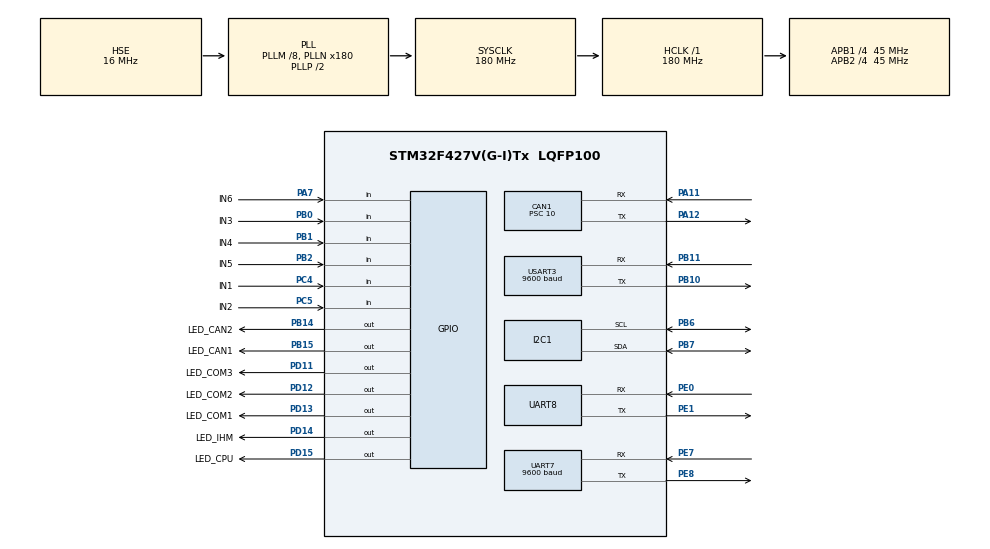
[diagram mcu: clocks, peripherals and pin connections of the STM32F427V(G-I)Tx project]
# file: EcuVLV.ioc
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CAN1.BS1=CAN_BS1_15TQ
CAN1.BS2=CAN_BS2_2TQ
CAN1.CalculateBaudRate=250000
CAN1.CalculateTimeBit=4000
CAN1.CalculateTimeQuantum=222.22222222222223
CAN1.NART=ENABLE
CAN1.Prescaler=10
Dma.Request0=USART3_RX
Dma.Request1=UART7_RX
Dma.UART7_RX.1.Direction=DMA_PERIPH_TO_MEMORY
Dma.UART7_RX.1.FIFOMode=DMA_FIFOMODE_DISABLE
Dma.UART7_RX.1.Instance=DMA1_Stream3
Dma.UART7_RX.1.MemDataAlignment=DMA_MDATAALIGN_BYTE
Dma.UART7_RX.1.MemInc=DMA_MINC_ENABLE
Dma.UART7_RX.1.Mode=DMA_NORMAL
Dma.UART7_RX.1.PeriphDataAlignment=DMA_PDATAALIGN_BYTE
Dma.UART7_RX.1.PeriphInc=DMA_PINC_DISABLE
Dma.UART7_RX.1.Priority=DMA_PRIORITY_HIGH
Dma.USART3_RX.0.Direction=DMA_PERIPH_TO_MEMORY
Dma.USART3_RX.0.FIFOMode=DMA_FIFOMODE_DISABLE
Dma.USART3_RX.0.Instance=DMA1_Stream1
Dma.USART3_RX.0.MemDataAlignment=DMA_MDATAALIGN_BYTE
Dma.USART3_RX.0.MemInc=DMA_MINC_ENABLE
Dma.USART3_RX.0.Mode=DMA_CIRCULAR
Dma.USART3_RX.0.PeriphDataAlignment=DMA_PDATAALIGN_BYTE
Dma.USART3_RX.0.PeriphInc=DMA_PINC_DISABLE
Dma.USART3_RX.0.Priority=DMA_PRIORITY_MEDIUM
IWDG.Prescaler=IWDG_PRESCALER_64
Mcu.Family=STM32F4
Mcu.Name=STM32F427V(G-I)Tx
Mcu.Package=LQFP100
NVIC.CAN1_RX0_IRQn=true\:0\:0\:false\:false\:true\:true\:true\:true
NVIC.CAN1_RX1_IRQn=true\:0\:0\:false\:false\:true\:true\:true\:true
NVIC.DMA1_Stream1_IRQn=true\:0\:0\:false\:false\:true\:false\:true\:true
NVIC.DMA1_Stream3_IRQn=true\:0\:0\:false\:false\:true\:false\:true\:true
NVIC.PriorityGroup=NVIC_PRIORITYGROUP_4
NVIC.TIM3_IRQn=true\:0\:0\:false\:false\:true\:true\:true\:true
NVIC.TIM6_DAC_IRQn=true\:0\:0\:false\:false\:true\:true\:true\:true
NVIC.UART7_IRQn=true\:0\:0\:false\:false\:true\:true\:true\:true
NVIC.USART3_IRQn=true\:0\:0\:false\:false\:true\:true\:true\:true
PA11.Mode=CAN_Activate
PA11.Signal=CAN1_RX
PA12.Mode=CAN_Activate
PA12.Signal=CAN1_TX
PA7.GPIO_Label=IN6
PA7.GPIO_PuPd=GPIO_PULLUP
PA7.Signal=GPIO_Input
PB0.GPIO_Label=IN3
PB0.GPIO_PuPd=GPIO_PULLUP
PB0.Signal=GPIO_Input
PB1.GPIO_Label=IN4
PB1.GPIO_PuPd=GPIO_PULLUP
PB1.Signal=GPIO_Input
PB10.Mode=Asynchronous
PB10.Signal=USART3_TX
PB11.Mode=Asynchronous
PB11.Signal=USART3_RX
PB14.GPIO_Label=LED_CAN2
PB14.Signal=GPIO_Output
PB15.GPIO_Label=LED_CAN1
PB15.Signal=GPIO_Output
PB2/BOOT1.GPIO_Label=IN5
PB2/BOOT1.GPIO_PuPd=GPIO_PULLUP
PB2/BOOT1.Signal=GPIO_Input
PB6.Mode=I2C
PB6.Signal=I2C1_SCL
PB7.Mode=I2C
PB7.Signal=I2C1_SDA
PC14/OSC32_IN.Mode=LSE-External-Oscillator
PC14/OSC32_IN.Signal=RCC_OSC32_IN
PC15/OSC32_OUT.Mode=LSE-External-Oscillator
PC15/OSC32_OUT.Signal=RCC_OSC32_OUT
PC4.GPIO_Label=IN1
PC4.GPIO_PuPd=GPIO_PULLUP
PC4.Signal=GPIO_Input
PC5.GPIO_Label=IN2
PC5.GPIO_PuPd=GPIO_PULLUP
PC5.Signal=GPIO_Input
PD11.GPIO_Label=LED_COM3
PD11.Signal=GPIO_Output
PD12.GPIO_Label=LED_COM2
PD12.Signal=GPIO_Output
PD13.GPIO_Label=LED_COM1
PD13.Signal=GPIO_Output
PD14.GPIO_Label=LED_IHM
PD14.Signal=GPIO_Output
PD15.GPIO_Label=LED_CPU
PD15.Signal=GPIO_Output
PE0.Mode=Asynchronous
PE0.Signal=UART8_RX
PE1.Mode=Asynchronous
PE1.Signal=UART8_TX
PE7.Mode=Asynchronous
PE7.Signal=UART7_RX
PE8.Mode=Asynchronous
PE8.Signal=UART7_TX
PH0/OSC_IN.Mode=HSE-External-Oscillator
PH0/OSC_IN.Signal=RCC_OSC_IN
PH1/OSC_OUT.Mode=HSE-External-Oscillator
PH1/OSC_OUT.Signal=RCC_OSC_OUT
ProjectManager.HeapSize=0x200
ProjectManager.StackSize=0x400
ProjectManager.TargetToolchain=STM32CubeIDE
RCC.48MHZClocksFreq_Value=90000000
RCC.AHBFreq_Value=180000000
RCC.APB1CLKDivider=RCC_HCLK_DIV4
RCC.APB1Freq_Value=45000000
RCC.APB1TimFreq_Value=90000000
RCC.APB2CLKDivider=RCC_HCLK_DIV4
RCC.APB2Freq_Value=45000000
RCC.APB2TimFreq_Value=90000000
RCC.CortexFreq_Value=180000000
RCC.HCLKFreq_Value=180000000
RCC.HSE_VALUE=16000000
RCC.HSI_VALUE=16000000
RCC.PLLM=8
RCC.PLLN=180
RCC.PLLSourceVirtual=RCC_PLLSOURCE_HSE
RCC.SYSCLKFreq_VALUE=180000000
RCC.SYSCLKSource=RCC_SYSCLKSOURCE_PLLCLK
RCC.VCOOutputFreq_Value=360000000
TIM2.Prescaler=90-1
TIM3.Period=10-1
TIM3.Prescaler=900-1
TIM6.Period=10-1
TIM6.Prescaler=9000-1
UART7.BaudRate=9600
UART7.VirtualMode=Asynchronous
UART8.VirtualMode=Asynchronous
USART3.BaudRate=9600
USART3.VirtualMode=VM_ASYNC
VP_IWDG_VS_IWDG.Mode=IWDG_Activate
VP_RTC_VS_RTC_Activate.Mode=RTC_Enabled
VP_RTC_VS_RTC_Calendar.Mode=RTC_Calendar
VP_TIM2_VS_ClockSourceINT.Mode=Internal
VP_TIM3_VS_ClockSourceINT.Mode=Internal
VP_TIM6_VS_ClockSourceINT.Mode=Enable_Timer
board=custom

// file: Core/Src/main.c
/* USER CODE BEGIN Header */
/**
  ******************************************************************************
  * @file           : main.c
  * @brief          : Main program body
  ******************************************************************************
  * @attention
  *
  * Copyright (c) 2026 STMicroelectronics.
  * All rights reserved.
  *
  * This software is licensed under terms that can be found in the LICENSE file
  * in the root directory of this software component.
  * If no LICENSE file comes with this software, it is provided AS-IS.
  *
  ******************************************************************************
  */
/* USER CODE END Header */
#include "main.h"

/* USER CODE BEGIN Includes */
#include "global.h"
#include "string.h"
/* USER CODE END Includes */

CAN_HandleTypeDef hcan1;

I2C_HandleTypeDef hi2c1;

IWDG_HandleTypeDef hiwdg;

RTC_HandleTypeDef hrtc;

TIM_HandleTypeDef htim2;
TIM_HandleTypeDef htim3;
TIM_HandleTypeDef htim6;

UART_HandleTypeDef huart7;
UART_HandleTypeDef huart8;
UART_HandleTypeDef huart3;
DMA_HandleTypeDef hdma_uart7_rx;
DMA_HandleTypeDef hdma_usart3_rx;

/* USER CODE BEGIN PV */
CAN_TxHeaderTypeDef	canTxHeader;
CAN_RxHeaderTypeDef	canRxHeader;

DTOBufferTypeDef
	bufferIHMDTO;

uint8_t
	flagPacoteCAN = false,
	flagEnviaPacoteCAN = false,
	flagPacoteIHM = false,
	flagLedCAN1 = false,
	flagLedIHM = false,
	flagCalculaSetpoint = false,

	flagSalvaHectarimetro = false,
	flagSensorLevante = false,
	flagOperacao = false,
	flagOperacaoVollverini = false,
	flagOperacaoAdubo = false,
	flagOperacaoSemente = false,
	flagCalibracaoPulsosPor100m = false,
	flagEnviaValorCalibracao100m = false,
	flagCalibracaoAdubo = false,
	flagCalibracaoSemente = false,

	flagAcionaContingencia = false,
	flagContingenciaAcionada = false,
	flagMaquinaParada = false,

	flagHomeHaste = false,
	flagFimCursoHaste = false,

	flagAcionamentoS1 = true,
	flagAcionamentoS2 = true,
	flagAcionamentoS3 = true,
	flagAcionamentoS4 = true,

	flagOffsetVelocidadeNegativo = false;

uint8_t
	operacao = 0,
	velocidade = 0,
	offsetVelocidade = 0,
	tipoSensorVelocidade = SENSOR_GPS,
	velocidadeContingencia = 8,

	calibracaoAduboPercentualZero = 0,
	calibracaoSementePercentualZero = 0,
	calibracaoMaterialSelecao = SELECIONA_TODOS,
	calibracaoMaterialPercentual = 0,

	comandoCalibracaoPulsos = CANCELAR_CALIBRACAO_PULSOS,
	comandoComportas = PARAR_COMPORTAS,
	comandoHaste = RETORNO_HASTE,

  contadorFalhaEsteira = 0,

	contadorBufferIHM = 0,
	contadorBufferSensorAcidez = 0;

char
	ihmDataIn = 0,
	sensorAcidezDataIn = 0;

uint16_t
	alturaHaste = 0,
	alturaZeroHaste = 0,
	setpointHaste = 10,
	quantidadePulsosHaste = 9,
	quantidadePulsosSetpointHaste = 0,
	contadorPulsosHaste = 0,
	tamanhoHaste = 10,
	acidez = 0,

	pulsosPor100m = 100,
	contadorPulsosPor100m = 0,

	valorSaidaAdubo = 0,
	valorSaidaSemente = 0,

	contadorCalibracaoMaterial = 0;

uint32_t
	canTxMailbox,

	setpointAdubo = 10,
	setpointSemente = 10,
	larguraMaquina = 100,
	hectarimetro = 0,
	hodometroMetros = 0,
	distanciaParaUmHectare = 10,

	materialPorMetroAdubo = 0,
	materialPorMetroSemente = 0;

uint8_t
	canTxBuffer[8],
	canRxBuffer[8],

	configuracaoModuloPotencia[QUANTIDADE_MAXIMA_MODULOS],
	setorModuloPotencia[QUANTIDADE_MAXIMA_MODULOS],
	contadorModuloOffline[QUANTIDADE_MAXIMA_MODULOS],

	calibracaoAduboPercentual[QUANTIDADE_PONTOS_CALIBRACAO],
	calibracaoSementePercentual[QUANTIDADE_PONTOS_CALIBRACAO];

uint16_t
	frequenciaModulo[QUANTIDADE_MAXIMA_MODULOS];

uint32_t
	calibracaoAduboMaterial[QUANTIDADE_PONTOS_CALIBRACAO],
	calibracaoSementeMaterial[QUANTIDADE_PONTOS_CALIBRACAO];

char
	bufferIHM[TAMANHO_BUFFER_IHM],
	bufferEnviaIHM[TAMANHO_BUFFER_IHM],

	bufferSensorAvidez[TAMANHO_BUFFER_SENSOR_ACIDEZ];
/* USER CODE END PV */

void SystemClock_Config(void);
static void MX_GPIO_Init(void);
static void MX_DMA_Init(void);
static void MX_I2C1_Init(void);
static void MX_IWDG_Init(void);
static void MX_RTC_Init(void);
static void MX_TIM2_Init(void);
static void MX_TIM3_Init(void);
static void MX_UART7_Init(void);
static void MX_USART3_UART_Init(void);
static void MX_UART8_Init(void);
static void MX_TIM6_Init(void);
static void MX_CAN1_Init(void);

/* USER CODE BEGIN 0 */
void HAL_TIM_PeriodElapsedCallback(TIM_HandleTypeDef *htim) {
	if(htim == &htim3) {
		schedulerEngine();
	}

	if(htim == &htim6) {
		leituraSensorVelocidade();
		leituraSensorPulsosHaste();
	}
}

void HAL_UARTEx_RxEventCallback(UART_HandleTypeDef *huart, uint16_t Size) {
    if(huart->Instance == UART7) {
    	if(Size && bufferIHM[Size - 1] == 0x0A) {
    		flagPacoteIHM = true;
    	}
    	else {
    		apagaBufferIHM();
    	}
    }
}

void HAL_CAN_RxFifo0MsgPendingCallback(CAN_HandleTypeDef *hCan) {
	if(hCan == &hcan1) {
		HAL_CAN_GetRxMessage(&hcan1, CAN_RX_FIFO0, &canRxHeader, canRxBuffer);
		flagPacoteCAN = true;
	}
}

void delayMicro(uint32_t tempo) {
	__HAL_TIM_SET_COUNTER(&htim2, 0);
	while(__HAL_TIM_GET_COUNTER(&htim2) < tempo) {
	}
}

void reiniciaWatchDog() {
	HAL_IWDG_Refresh(&hiwdg);
}
/* USER CODE END 0 */

int main(void)
{

  /* MCU Configuration--------------------------------------------------------*/

  /* Reset of all peripherals, Initializes the Flash interface and the Systick. */
  HAL_Init();

  /* Configure the system clock */
  SystemClock_Config();

  /* Initialize all configured peripherals */
  MX_GPIO_Init();
  MX_DMA_Init();
  MX_I2C1_Init();
  MX_IWDG_Init();
  MX_RTC_Init();
  MX_TIM2_Init();
  MX_TIM3_Init();
  MX_UART7_Init();
  MX_USART3_UART_Init();
  MX_UART8_Init();
  MX_TIM6_Init();
  MX_CAN1_Init();
  /* USER CODE BEGIN 2 */
  HAL_CAN_Start(&hcan1);
  HAL_CAN_ActivateNotification(&hcan1, CAN_IT_RX_FIFO0_MSG_PENDING);
  //Alterações no CAN INIT

  HAL_TIM_Base_Start(&htim2); //Timer do delay us
  HAL_TIM_Base_Start_IT(&htim3); //Timer do Scheduller
  HAL_TIM_Base_Start_IT(&htim6); //Timer da velocidade

  verificaEeprom();
  readEeprom();
  calculaDistanciaUmHectare();
  calculaMaterialPorMetro();
  calculaQuantidadePulsosSetpointHaste(setpointHaste);

  on(LED_COM1_GPIO_Port, LED_COM1_Pin);
  on(LED_COM2_GPIO_Port, LED_COM2_Pin);
  on(LED_COM3_GPIO_Port, LED_COM3_Pin);
  on(LED_CAN2_GPIO_Port, LED_CAN2_Pin);

  HAL_UARTEx_ReceiveToIdle_DMA(&huart7, &bufferIHM, TAMANHO_BUFFER_IHM);

  /* USER CODE END 2 */

  /* Infinite loop */
  /* USER CODE BEGIN WHILE */
  while (1)
  {
	  protocoloIHM();
	  leituraEntradasDigitais();
	  verificaOperacao();
	  controleHaste();

	  recebePacoteCAN();

	  if(flagCalculaSetpoint) {
		  flagCalculaSetpoint = false;
		  calculaSetpoint();
	  }

	  if(flagEnviaPacoteCAN) {
		  flagEnviaPacoteCAN = false;
		  enviaPacoteCAN();
	  }

	  if(flagSalvaHectarimetro) {
		  flagSalvaHectarimetro = false;
		  writeEepromHectarimetro();
	  }
    /* USER CODE END WHILE */

    /* USER CODE BEGIN 3 */
	  //HAL_UART_Receive_IT(&huart7, &ihmDataIn, 1);
  }
  /* USER CODE END 3 */
}

void SystemClock_Config(void)
{
  RCC_OscInitTypeDef RCC_OscInitStruct = {0};
  RCC_ClkInitTypeDef RCC_ClkInitStruct = {0};

  /** Configure the main internal regulator output voltage
  */
  __HAL_RCC_PWR_CLK_ENABLE();
  __HAL_PWR_VOLTAGESCALING_CONFIG(PWR_REGULATOR_VOLTAGE_SCALE1);

  /** Initializes the RCC Oscillators according to the specified parameters
  * in the RCC_OscInitTypeDef structure.
  */
  RCC_OscInitStruct.OscillatorType = RCC_OSCILLATORTYPE_LSI|RCC_OSCILLATORTYPE_HSE;
  RCC_OscInitStruct.HSEState = RCC_HSE_ON;
  RCC_OscInitStruct.LSIState = RCC_LSI_ON;
  RCC_OscInitStruct.PLL.PLLState = RCC_PLL_ON;
  RCC_OscInitStruct.PLL.PLLSource = RCC_PLLSOURCE_HSE;
  RCC_OscInitStruct.PLL.PLLM = 8;
  RCC_OscInitStruct.PLL.PLLN = 180;
  RCC_OscInitStruct.PLL.PLLP = RCC_PLLP_DIV2;
  RCC_OscInitStruct.PLL.PLLQ = 4;
  if (HAL_RCC_OscConfig(&RCC_OscInitStruct) != HAL_OK)
  {
    Error_Handler();
  }

  /** Activate the Over-Drive mode
  */
  if (HAL_PWREx_EnableOverDrive() != HAL_OK)
  {
    Error_Handler();
  }

  /** Initializes the CPU, AHB and APB buses clocks
  */
  RCC_ClkInitStruct.ClockType = RCC_CLOCKTYPE_HCLK|RCC_CLOCKTYPE_SYSCLK
                              |RCC_CLOCKTYPE_PCLK1|RCC_CLOCKTYPE_PCLK2;
  RCC_ClkInitStruct.SYSCLKSource = RCC_SYSCLKSOURCE_PLLCLK;
  RCC_ClkInitStruct.AHBCLKDivider = RCC_SYSCLK_DIV1;
  RCC_ClkInitStruct.APB1CLKDivider = RCC_HCLK_DIV4;
  RCC_ClkInitStruct.APB2CLKDivider = RCC_HCLK_DIV4;

  if (HAL_RCC_ClockConfig(&RCC_ClkInitStruct, FLASH_LATENCY_5) != HAL_OK)
  {
    Error_Handler();
  }
}

static void MX_CAN1_Init(void)
{

  /* USER CODE BEGIN CAN1_Init 0 */
	//calculo da configuração de velocidade
	//http://www.bittiming.can-wiki.info/
	//Selecionar ST e colocar a velocidade do clock (do APB1 ou do barramento correspondente a CAN)
	//gerar tabela e pegar os calores de prescaler, seg1 e seg2
	CAN_FilterTypeDef  sFilterConfig; //Inserido

	//hcan.Init.AutoRetransmission = ENABLE; --> Deve estar em ENABLE

  /* USER CODE END CAN1_Init 0 */

  hcan1.Instance = CAN1;
  hcan1.Init.Prescaler = 10;
  hcan1.Init.Mode = CAN_MODE_NORMAL;
  hcan1.Init.SyncJumpWidth = CAN_SJW_1TQ;
  hcan1.Init.TimeSeg1 = CAN_BS1_15TQ;
  hcan1.Init.TimeSeg2 = CAN_BS2_2TQ;
  hcan1.Init.TimeTriggeredMode = DISABLE;
  hcan1.Init.AutoBusOff = DISABLE;
  hcan1.Init.AutoWakeUp = DISABLE;
  hcan1.Init.AutoRetransmission = ENABLE;
  hcan1.Init.ReceiveFifoLocked = DISABLE;
  hcan1.Init.TransmitFifoPriority = DISABLE;
  if (HAL_CAN_Init(&hcan1) != HAL_OK)
  {
    Error_Handler();
  }
  /* USER CODE BEGIN CAN1_Init 2 */
  //Inserido abaixo

  sFilterConfig.FilterBank = 0;
  sFilterConfig.FilterMode = CAN_FILTERMODE_IDMASK;
  sFilterConfig.FilterScale = CAN_FILTERSCALE_32BIT;
  sFilterConfig.FilterIdHigh = 0x0000;
  sFilterConfig.FilterIdLow = 0x0000;
  sFilterConfig.FilterMaskIdHigh = 0x0000;
  sFilterConfig.FilterMaskIdLow = 0x0000;
  sFilterConfig.FilterFIFOAssignment = CAN_RX_FIFO0;
  sFilterConfig.FilterActivation = ENABLE;
  sFilterConfig.SlaveStartFilterBank = 14;

  if(HAL_CAN_ConfigFilter(&hcan1, &sFilterConfig) != HAL_OK) {
	  Error_Handler();
  }

  if(HAL_CAN_Start(&hcan1) != HAL_OK) {
	  Error_Handler();
  }

  /* USER CODE END CAN1_Init 2 */

}

static void MX_I2C1_Init(void)
{

  hi2c1.Instance = I2C1;
  hi2c1.Init.ClockSpeed = 100000;
  hi2c1.Init.DutyCycle = I2C_DUTYCYCLE_2;
  hi2c1.Init.OwnAddress1 = 0;
  hi2c1.Init.AddressingMode = I2C_ADDRESSINGMODE_7BIT;
  hi2c1.Init.DualAddressMode = I2C_DUALADDRESS_DISABLE;
  hi2c1.Init.OwnAddress2 = 0;
  hi2c1.Init.GeneralCallMode = I2C_GENERALCALL_DISABLE;
  hi2c1.Init.NoStretchMode = I2C_NOSTRETCH_DISABLE;
  if (HAL_I2C_Init(&hi2c1) != HAL_OK)
  {
    Error_Handler();
  }

  /** Configure Analogue filter
  */
  if (HAL_I2CEx_ConfigAnalogFilter(&hi2c1, I2C_ANALOGFILTER_ENABLE) != HAL_OK)
  {
    Error_Handler();
  }

  /** Configure Digital filter
  */
  if (HAL_I2CEx_ConfigDigitalFilter(&hi2c1, 0) != HAL_OK)
  {
    Error_Handler();
  }

}

static void MX_IWDG_Init(void)
{

  hiwdg.Instance = IWDG;
  hiwdg.Init.Prescaler = IWDG_PRESCALER_64;
  hiwdg.Init.Reload = 4095;
  if (HAL_IWDG_Init(&hiwdg) != HAL_OK)
  {
    Error_Handler();
  }

}

static void MX_RTC_Init(void)
{

  RTC_TimeTypeDef sTime = {0};
  RTC_DateTypeDef sDate = {0};

  /** Initialize RTC Only
  */
  hrtc.Instance = RTC;
  hrtc.Init.HourFormat = RTC_HOURFORMAT_24;
  hrtc.Init.AsynchPrediv = 127;
  hrtc.Init.SynchPrediv = 255;
  hrtc.Init.OutPut = RTC_OUTPUT_DISABLE;
  hrtc.Init.OutPutPolarity = RTC_OUTPUT_POLARITY_HIGH;
  hrtc.Init.OutPutType = RTC_OUTPUT_TYPE_OPENDRAIN;
  if (HAL_RTC_Init(&hrtc) != HAL_OK)
  {
    Error_Handler();
  }

  /** Initialize RTC and set the Time and Date
  */
  sTime.Hours = 0x0;
  sTime.Minutes = 0x0;
  sTime.Seconds = 0x0;
  sTime.DayLightSaving = RTC_DAYLIGHTSAVING_NONE;
  sTime.StoreOperation = RTC_STOREOPERATION_RESET;
  if (HAL_RTC_SetTime(&hrtc, &sTime, RTC_FORMAT_BCD) != HAL_OK)
  {
    Error_Handler();
  }
  sDate.WeekDay = RTC_WEEKDAY_MONDAY;
  sDate.Month = RTC_MONTH_JANUARY;
  sDate.Date = 0x1;
  sDate.Year = 0x0;

  if (HAL_RTC_SetDate(&hrtc, &sDate, RTC_FORMAT_BCD) != HAL_OK)
  {
    Error_Handler();
  }

}

static void MX_TIM2_Init(void)
{

  TIM_ClockConfigTypeDef sClockSourceConfig = {0};
  TIM_MasterConfigTypeDef sMasterConfig = {0};

  htim2.Instance = TIM2;
  htim2.Init.Prescaler = 90-1;
  htim2.Init.CounterMode = TIM_COUNTERMODE_UP;
  htim2.Init.Period = 4294967295;
  htim2.Init.ClockDivision = TIM_CLOCKDIVISION_DIV1;
  htim2.Init.AutoReloadPreload = TIM_AUTORELOAD_PRELOAD_DISABLE;
  if (HAL_TIM_Base_Init(&htim2) != HAL_OK)
  {
    Error_Handler();
  }
  sClockSourceConfig.ClockSource = TIM_CLOCKSOURCE_INTERNAL;
  if (HAL_TIM_ConfigClockSource(&htim2, &sClockSourceConfig) != HAL_OK)
  {
    Error_Handler();
  }
  sMasterConfig.MasterOutputTrigger = TIM_TRGO_RESET;
  sMasterConfig.MasterSlaveMode = TIM_MASTERSLAVEMODE_DISABLE;
  if (HAL_TIMEx_MasterConfigSynchronization(&htim2, &sMasterConfig) != HAL_OK)
  {
    Error_Handler();
  }

}

static void MX_TIM3_Init(void)
{

  TIM_ClockConfigTypeDef sClockSourceConfig = {0};
  TIM_MasterConfigTypeDef sMasterConfig = {0};

  htim3.Instance = TIM3;
  htim3.Init.Prescaler = 900-1;
  htim3.Init.CounterMode = TIM_COUNTERMODE_UP;
  htim3.Init.Period = 10-1;
  htim3.Init.ClockDivision = TIM_CLOCKDIVISION_DIV1;
  htim3.Init.AutoReloadPreload = TIM_AUTORELOAD_PRELOAD_DISABLE;
  if (HAL_TIM_Base_Init(&htim3) != HAL_OK)
  {
    Error_Handler();
  }
  sClockSourceConfig.ClockSource = TIM_CLOCKSOURCE_INTERNAL;
  if (HAL_TIM_ConfigClockSource(&htim3, &sClockSourceConfig) != HAL_OK)
  {
    Error_Handler();
  }
  sMasterConfig.MasterOutputTrigger = TIM_TRGO_RESET;
  sMasterConfig.MasterSlaveMode = TIM_MASTERSLAVEMODE_DISABLE;
  if (HAL_TIMEx_MasterConfigSynchronization(&htim3, &sMasterConfig) != HAL_OK)
  {
    Error_Handler();
  }

}

static void MX_TIM6_Init(void)
{

  TIM_MasterConfigTypeDef sMasterConfig = {0};

  htim6.Instance = TIM6;
  htim6.Init.Prescaler = 9000-1;
  htim6.Init.CounterMode = TIM_COUNTERMODE_UP;
  htim6.Init.Period = 10-1;
  htim6.Init.AutoReloadPreload = TIM_AUTORELOAD_PRELOAD_DISABLE;
  if (HAL_TIM_Base_Init(&htim6) != HAL_OK)
  {
    Error_Handler();
  }
  sMasterConfig.MasterOutputTrigger = TIM_TRGO_RESET;
  sMasterConfig.MasterSlaveMode = TIM_MASTERSLAVEMODE_DISABLE;
  if (HAL_TIMEx_MasterConfigSynchronization(&htim6, &sMasterConfig) != HAL_OK)
  {
    Error_Handler();
  }

}

static void MX_UART7_Init(void)
{

  huart7.Instance = UART7;
  huart7.Init.BaudRate = 9600;
  huart7.Init.WordLength = UART_WORDLENGTH_8B;
  huart7.Init.StopBits = UART_STOPBITS_1;
  huart7.Init.Parity = UART_PARITY_NONE;
  huart7.Init.Mode = UART_MODE_TX_RX;
  huart7.Init.HwFlowCtl = UART_HWCONTROL_NONE;
  huart7.Init.OverSampling = UART_OVERSAMPLING_16;
  if (HAL_UART_Init(&huart7) != HAL_OK)
  {
    Error_Handler();
  }

}

static void MX_UART8_Init(void)
{

  huart8.Instance = UART8;
  huart8.Init.BaudRate = 115200;
  huart8.Init.WordLength = UART_WORDLENGTH_8B;
  huart8.Init.StopBits = UART_STOPBITS_1;
  huart8.Init.Parity = UART_PARITY_NONE;
  huart8.Init.Mode = UART_MODE_TX_RX;
  huart8.Init.HwFlowCtl = UART_HWCONTROL_NONE;
  huart8.Init.OverSampling = UART_OVERSAMPLING_16;
  if (HAL_UART_Init(&huart8) != HAL_OK)
  {
    Error_Handler();
  }

}

static void MX_USART3_UART_Init(void)
{

  huart3.Instance = USART3;
  huart3.Init.BaudRate = 9600;
  huart3.Init.WordLength = UART_WORDLENGTH_8B;
  huart3.Init.StopBits = UART_STOPBITS_1;
  huart3.Init.Parity = UART_PARITY_NONE;
  huart3.Init.Mode = UART_MODE_TX_RX;
  huart3.Init.HwFlowCtl = UART_HWCONTROL_NONE;
  huart3.Init.OverSampling = UART_OVERSAMPLING_16;
  if (HAL_UART_Init(&huart3) != HAL_OK)
  {
    Error_Handler();
  }

}

static void MX_DMA_Init(void)
{

  /* DMA controller clock enable */
  __HAL_RCC_DMA1_CLK_ENABLE();

  /* DMA interrupt init */
  /* DMA1_Stream1_IRQn interrupt configuration */
  HAL_NVIC_SetPriority(DMA1_Stream1_IRQn, 0, 0);
  HAL_NVIC_EnableIRQ(DMA1_Stream1_IRQn);
  /* DMA1_Stream3_IRQn interrupt configuration */
  HAL_NVIC_SetPriority(DMA1_Stream3_IRQn, 0, 0);
  HAL_NVIC_EnableIRQ(DMA1_Stream3_IRQn);

}

static void MX_GPIO_Init(void)
{
  GPIO_InitTypeDef GPIO_InitStruct = {0};

  /* GPIO Ports Clock Enable */
  __HAL_RCC_GPIOC_CLK_ENABLE();
  __HAL_RCC_GPIOH_CLK_ENABLE();
  __HAL_RCC_GPIOA_CLK_ENABLE();
  __HAL_RCC_GPIOB_CLK_ENABLE();
  __HAL_RCC_GPIOE_CLK_ENABLE();
  __HAL_RCC_GPIOD_CLK_ENABLE();

  /*Configure GPIO pin Output Level */
  HAL_GPIO_WritePin(GPIOB, LED_CAN2_Pin|LED_CAN1_Pin, GPIO_PIN_RESET);

  /*Configure GPIO pin Output Level */
  HAL_GPIO_WritePin(GPIOD, LED_COM3_Pin|LED_COM2_Pin|LED_COM1_Pin|LED_IHM_Pin
                          |LED_CPU_Pin, GPIO_PIN_RESET);

  /*Configure GPIO pin : IN6_Pin */
  GPIO_InitStruct.Pin = IN6_Pin;
  GPIO_InitStruct.Mode = GPIO_MODE_INPUT;
  GPIO_InitStruct.Pull = GPIO_PULLUP;
  HAL_GPIO_Init(IN6_GPIO_Port, &GPIO_InitStruct);

  /*Configure GPIO pins : IN1_Pin IN2_Pin */
  GPIO_InitStruct.Pin = IN1_Pin|IN2_Pin;
  GPIO_InitStruct.Mode = GPIO_MODE_INPUT;
  GPIO_InitStruct.Pull = GPIO_PULLUP;
  HAL_GPIO_Init(GPIOC, &GPIO_InitStruct);

  /*Configure GPIO pins : IN3_Pin IN4_Pin IN5_Pin */
  GPIO_InitStruct.Pin = IN3_Pin|IN4_Pin|IN5_Pin;
  GPIO_InitStruct.Mode = GPIO_MODE_INPUT;
  GPIO_InitStruct.Pull = GPIO_PULLUP;
  HAL_GPIO_Init(GPIOB, &GPIO_InitStruct);

  /*Configure GPIO pins : LED_CAN2_Pin LED_CAN1_Pin */
  GPIO_InitStruct.Pin = LED_CAN2_Pin|LED_CAN1_Pin;
  GPIO_InitStruct.Mode = GPIO_MODE_OUTPUT_PP;
  GPIO_InitStruct.Pull = GPIO_NOPULL;
  GPIO_InitStruct.Speed = GPIO_SPEED_FREQ_LOW;
  HAL_GPIO_Init(GPIOB, &GPIO_InitStruct);

  /*Configure GPIO pins : LED_COM3_Pin LED_COM2_Pin LED_COM1_Pin LED_IHM_Pin
                           LED_CPU_Pin */
  GPIO_InitStruct.Pin = LED_COM3_Pin|LED_COM2_Pin|LED_COM1_Pin|LED_IHM_Pin
                          |LED_CPU_Pin;
  GPIO_InitStruct.Mode = GPIO_MODE_OUTPUT_PP;
  GPIO_InitStruct.Pull = GPIO_NOPULL;
  GPIO_InitStruct.Speed = GPIO_SPEED_FREQ_LOW;
  HAL_GPIO_Init(GPIOD, &GPIO_InitStruct);

}

void Error_Handler(void)
{
  __disable_irq();
  while (1)
  {
  }
}
